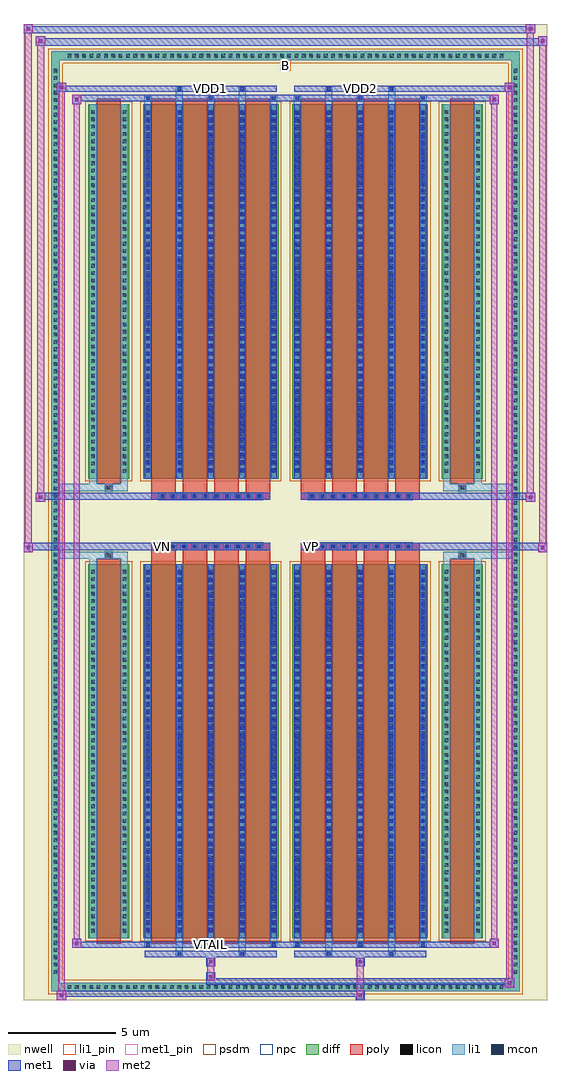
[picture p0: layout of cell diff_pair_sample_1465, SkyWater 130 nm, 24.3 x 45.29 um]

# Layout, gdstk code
import gdstk
lib = gdstk.Library(unit=1e-6, precision=5e-09)
def R(c, l, rs):  # rectangles x0, y0, x1, y1
    for r in rs: c.add(gdstk.rectangle(r[:2], r[2:], *l))
def A(c, l, x, y, w, h, nx, ny, dx, dy):  # array of equal rectangles
    R(c, l, [(x+i*dx, y+j*dy, x+i*dx+w, y+j*dy+h) for i in range(nx) for j in range(ny)])
def P(c, l, *ps):  # polygons
    for p in ps: c.add(gdstk.Polygon(p, *l))
nwell = (64, 20)
diff = (65, 20)
poly = (66, 20)
licon = (66, 44)
li1_pin = (67, 16)
li1 = (67, 20)
mcon = (67, 44)
met1_pin = (68, 16)
met1 = (68, 20)
via = (68, 44)
met2 = (69, 20)
psdm = (94, 20)
npc = (95, 20)

diff_pair_sample_1465 = lib.new_cell('diff_pair_sample_1465')
R(diff_pair_sample_1465, nwell, [(-12.15,-22.21,12.15,23.08), (-9.47,-20.4,-0.01,-0.8), (0.01,-20.4,9.47,-0.8), (-9.47,0.8,-0.01,20.4), (0.01,0.8,9.47,20.4)])
A(diff_pair_sample_1465, diff, -10.235, -21.81, 0.41, 0.41, 60, 2, 0.34, 43.21)
A(diff_pair_sample_1465, diff, -10.88, -21.115, 0.41, 0.41, 1, 124, 0, 0.34)
A(diff_pair_sample_1465, diff, 10.47, -21.115, 0.41, 0.41, 1, 124, 0, 0.34)
R(diff_pair_sample_1465, diff, [(-10.235,-21.81,10.235,-21.4), (-10.88,-21.115,-10.47,21.115), (10.47,-21.115,10.88,21.115), (-9.16,-19.355,-7.25,-1.985), (-6.61,-19.355,-0.32,-1.985), (0.32,-19.355,6.61,-1.985), (7.25,-19.355,9.16,-1.985), (-9.16,1.985,-7.25,19.355), (-6.61,1.985,-0.32,19.355), (0.32,1.985,6.61,19.355), (7.25,1.985,9.16,19.355), (-10.235,21.4,10.235,21.81)])
P(diff_pair_sample_1465, diff, [(10.88,21.81),(-10.88,21.81),(-10.88,-21.4),(-10.47,-21.4),(-10.47,21.4),(10.47,21.4),(10.47,-21.4),(-10.47,-21.4),(-10.88,-21.4),(-10.88,-21.81),(10.88,-21.81)])
A(diff_pair_sample_1465, poly, -6.22, -19.605, 1.13, 17.87, 4, 2, 1.46, 21.34)
A(diff_pair_sample_1465, poly, 0.71, -19.605, 1.13, 17.87, 4, 2, 1.46, 21.34)
A(diff_pair_sample_1465, poly, -6.22, -1.735, 1.13, 0.405, 4, 2, 1.46, 3.065)
A(diff_pair_sample_1465, poly, 0.71, -1.735, 1.13, 0.405, 4, 2, 1.46, 3.065)
A(diff_pair_sample_1465, poly, -5.88, -1.33, 0.33, 0.33, 10, 2, 0.5, 2.33)
A(diff_pair_sample_1465, poly, 1.05, -1.33, 0.33, 0.33, 10, 2, 0.5, 2.33)
R(diff_pair_sample_1465, poly, [(-8.77,-19.605,-7.64,-1.735), (7.64,-19.605,8.77,-1.735), (-8.37,-1.735,-8.04,-1.405), (-8.37,-1.735,-8.04,-1.405), (8.04,-1.735,8.37,-1.405), (8.04,-1.735,8.37,-1.405), (-6.22,-1.33,-0.71,-1), (0.71,-1.33,6.22,-1), (-6.22,1,-0.71,1.33), (0.71,1,6.22,1.33), (-8.37,1.405,-8.04,1.735), (-8.37,1.405,-8.04,1.735), (8.04,1.405,8.37,1.735), (8.04,1.405,8.37,1.735), (-8.77,1.735,-7.64,19.605), (7.64,1.735,8.77,19.605)])
A(diff_pair_sample_1465, licon, -10.115, -21.69, 0.17, 0.17, 60, 2, 0.34, 43.21)
A(diff_pair_sample_1465, licon, -10.76, -20.995, 0.17, 0.17, 1, 124, 0, 0.34)
A(diff_pair_sample_1465, licon, 10.59, -20.995, 0.17, 0.17, 1, 124, 0, 0.34)
A(diff_pair_sample_1465, licon, -9.02, -19.085, 0.17, 0.17, 1, 50, 0, 0.34)
A(diff_pair_sample_1465, licon, -7.56, -19.085, 0.17, 0.17, 1, 50, 0, 0.34)
A(diff_pair_sample_1465, licon, -6.47, -19.085, 0.17, 0.17, 5, 50, 1.46, 0.34)
A(diff_pair_sample_1465, licon, 0.46, -19.085, 0.17, 0.17, 5, 50, 1.46, 0.34)
A(diff_pair_sample_1465, licon, 7.39, -19.085, 0.17, 0.17, 1, 50, 0, 0.34)
A(diff_pair_sample_1465, licon, 8.85, -19.085, 0.17, 0.17, 1, 50, 0, 0.34)
A(diff_pair_sample_1465, licon, -5.8, -1.25, 0.17, 0.17, 10, 2, 0.5, 2.33)
A(diff_pair_sample_1465, licon, 1.13, -1.25, 0.17, 0.17, 10, 2, 0.5, 2.33)
A(diff_pair_sample_1465, licon, -9.02, 2.255, 0.17, 0.17, 1, 50, 0, 0.34)
A(diff_pair_sample_1465, licon, -7.56, 2.255, 0.17, 0.17, 1, 50, 0, 0.34)
A(diff_pair_sample_1465, licon, -6.47, 2.255, 0.17, 0.17, 5, 50, 1.46, 0.34)
A(diff_pair_sample_1465, licon, 0.46, 2.255, 0.17, 0.17, 5, 50, 1.46, 0.34)
A(diff_pair_sample_1465, licon, 7.39, 2.255, 0.17, 0.17, 1, 50, 0, 0.34)
A(diff_pair_sample_1465, licon, 8.85, 2.255, 0.17, 0.17, 1, 50, 0, 0.34)
R(diff_pair_sample_1465, licon, [(-8.29,-1.655,-8.12,-1.485), (8.12,-1.655,8.29,-1.485), (-8.29,1.485,-8.12,1.655), (8.12,1.485,8.29,1.655)])
R(diff_pair_sample_1465, li1_pin, [(-0.25,20.9,0.25,21.4)])
A(diff_pair_sample_1465, li1, -10.195, -21.77, 0.33, 0.33, 60, 2, 0.34, 43.21)
A(diff_pair_sample_1465, li1, -10.84, -21.075, 0.33, 0.33, 1, 124, 0, 0.34)
A(diff_pair_sample_1465, li1, 10.51, -21.075, 0.33, 0.33, 1, 124, 0, 0.34)
A(diff_pair_sample_1465, li1, -6.55, -19.73, 0.33, 0.375, 3, 2, 2.92, 39.085)
A(diff_pair_sample_1465, li1, -6.47, -19.73, 0.17, 0.17, 3, 2, 2.92, 39.29)
A(diff_pair_sample_1465, li1, 0.38, -19.73, 0.33, 0.375, 3, 2, 2.92, 39.085)
A(diff_pair_sample_1465, li1, 0.46, -19.73, 0.17, 0.17, 3, 2, 2.92, 39.29)
A(diff_pair_sample_1465, li1, -6.55, -19.355, 0.33, 17.37, 5, 2, 1.46, 21.34)
A(diff_pair_sample_1465, li1, 0.38, -19.355, 0.33, 17.37, 5, 2, 1.46, 21.34)
A(diff_pair_sample_1465, li1, -9.1, -19.165, 0.33, 0.33, 1, 50, 0, 0.34)
A(diff_pair_sample_1465, li1, -7.64, -19.165, 0.33, 0.33, 1, 50, 0, 0.34)
A(diff_pair_sample_1465, li1, -6.55, -19.165, 0.33, 0.33, 5, 50, 1.46, 0.34)
A(diff_pair_sample_1465, li1, 0.38, -19.165, 0.33, 0.33, 5, 50, 1.46, 0.34)
A(diff_pair_sample_1465, li1, 7.31, -19.165, 0.33, 0.33, 1, 50, 0, 0.34)
A(diff_pair_sample_1465, li1, 8.77, -19.165, 0.33, 0.33, 1, 50, 0, 0.34)
A(diff_pair_sample_1465, li1, -6.47, -19.035, 0.17, 0.17, 5, 47, 1.46, 0.36)
A(diff_pair_sample_1465, li1, -6.47, -19.035, 0.17, 16.73, 5, 2, 1.46, 21.34)
A(diff_pair_sample_1465, li1, 0.46, -19.035, 0.17, 0.17, 5, 47, 1.46, 0.36)
A(diff_pair_sample_1465, li1, 0.46, -19.035, 0.17, 16.73, 5, 2, 1.46, 21.34)
A(diff_pair_sample_1465, li1, -5.88, -1.33, 0.33, 0.33, 10, 2, 0.5, 2.33)
A(diff_pair_sample_1465, li1, 1.05, -1.33, 0.33, 0.33, 10, 2, 0.5, 2.33)
A(diff_pair_sample_1465, li1, -9.1, 2.175, 0.33, 0.33, 1, 50, 0, 0.34)
A(diff_pair_sample_1465, li1, -7.64, 2.175, 0.33, 0.33, 1, 50, 0, 0.34)
A(diff_pair_sample_1465, li1, -6.55, 2.175, 0.33, 0.33, 5, 50, 1.46, 0.34)
A(diff_pair_sample_1465, li1, 0.38, 2.175, 0.33, 0.33, 5, 50, 1.46, 0.34)
A(diff_pair_sample_1465, li1, 7.31, 2.175, 0.33, 0.33, 1, 50, 0, 0.34)
A(diff_pair_sample_1465, li1, 8.77, 2.175, 0.33, 0.33, 1, 50, 0, 0.34)
A(diff_pair_sample_1465, li1, -6.47, 2.305, 0.17, 0.17, 5, 47, 1.46, 0.36)
A(diff_pair_sample_1465, li1, 0.46, 2.305, 0.17, 0.17, 5, 47, 1.46, 0.36)
R(diff_pair_sample_1465, li1, [(-10.88,-21.81,-10.47,-21.4), (-10.88,-21.81,-10.47,-21.4), (-10.47,-21.81,10.47,-21.4), (10.47,-21.81,10.88,-21.4), (10.47,-21.81,10.88,-21.4), (-10.88,-21.4,-10.47,21.4), (10.47,-21.4,10.88,21.4), (-5.09,-20.16,-4.76,-19.355), (-5.01,-20.16,-4.84,-19.99), (-2.17,-20.16,-1.84,-19.355), (-2.09,-20.16,-1.92,-19.99), (1.84,-20.16,2.17,-19.355), (1.92,-20.16,2.09,-19.99), (4.76,-20.16,5.09,-19.355), (4.84,-20.16,5.01,-19.99), (-9.1,-19.355,-8.77,-1.985), (-7.64,-19.355,-7.31,-1.985), (7.31,-19.355,7.64,-1.985), (8.77,-19.355,9.1,-1.985), (-9.1,-1.985,-8.77,-1.405), (-7.64,-1.985,-7.31,-1.405), (7.31,-1.985,7.64,-1.405), (8.77,-1.985,9.1,-1.405), (-10.88,-1.735,-8.37,-1.405), (-9.1,-1.735,-8.37,-1.405), (-8.37,-1.735,-8.04,-1.405), (-8.04,-1.735,-7.31,-1.405), (7.31,-1.735,8.04,-1.405), (8.04,-1.735,8.37,-1.405), (8.04,-1.735,10.88,-1.405), (8.37,-1.735,9.1,-1.405), (-10.88,1.405,-8.37,1.735), (-9.1,1.405,-8.37,1.735), (-9.1,1.405,-8.77,1.985), (-8.37,1.405,-8.04,1.735), (-8.04,1.405,-7.31,1.735), (-7.64,1.405,-7.31,1.985), (7.31,1.405,8.04,1.735), (7.31,1.405,7.64,1.985), (8.04,1.405,8.37,1.735), (8.04,1.405,10.88,1.735), (8.37,1.405,9.1,1.735), (8.77,1.405,9.1,1.985), (-9.1,1.985,-8.77,19.355), (-7.64,1.985,-7.31,19.355), (7.31,1.985,7.64,19.355), (8.77,1.985,9.1,19.355), (-5.09,19.355,-4.76,20.16), (-2.17,19.355,-1.84,20.16), (1.84,19.355,2.17,20.16), (4.76,19.355,5.09,20.16), (-5.01,19.99,-4.84,20.16), (-2.09,19.99,-1.92,20.16), (1.92,19.99,2.09,20.16), (4.84,19.99,5.01,20.16), (-10.88,21.4,-10.47,21.81), (-10.88,21.4,-10.47,21.81), (-10.47,21.4,10.47,21.81), (10.47,21.4,10.88,21.81), (10.47,21.4,10.88,21.81)])
A(diff_pair_sample_1465, mcon, -6.47, -19.73, 0.17, 0.17, 3, 2, 2.92, 39.29)
A(diff_pair_sample_1465, mcon, 0.46, -19.73, 0.17, 0.17, 3, 2, 2.92, 39.29)
A(diff_pair_sample_1465, mcon, -6.47, -19.035, 0.17, 0.17, 5, 47, 1.46, 0.36)
A(diff_pair_sample_1465, mcon, 0.46, -19.035, 0.17, 0.17, 5, 47, 1.46, 0.36)
A(diff_pair_sample_1465, mcon, -5.8, -1.25, 0.17, 0.17, 10, 2, 0.5, 2.33)
A(diff_pair_sample_1465, mcon, 1.13, -1.25, 0.17, 0.17, 10, 2, 0.5, 2.33)
A(diff_pair_sample_1465, mcon, -6.47, 2.305, 0.17, 0.17, 5, 47, 1.46, 0.36)
A(diff_pair_sample_1465, mcon, 0.46, 2.305, 0.17, 0.17, 5, 47, 1.46, 0.36)
R(diff_pair_sample_1465, mcon, [(-5.01,-20.16,-4.84,-19.99), (-2.09,-20.16,-1.92,-19.99), (1.92,-20.16,2.09,-19.99), (4.84,-20.16,5.01,-19.99), (-5.01,19.99,-4.84,20.16), (-2.09,19.99,-1.92,20.16), (1.92,19.99,2.09,20.16), (4.84,19.99,5.01,20.16)])
R(diff_pair_sample_1465, met1_pin, [(-3.6,-19.77,-3.33,-19.5), (-5.85,-1.29,-5.58,-1.02), (1.08,-1.29,1.35,-1.02), (-3.6,19.95,-3.33,20.22), (3.33,19.95,3.6,20.22)])
A(diff_pair_sample_1465, met1, -6.53, -19.79, 0.29, 0.29, 3, 2, 2.92, 39.29)
A(diff_pair_sample_1465, met1, 0.4, -19.79, 0.29, 0.29, 3, 2, 2.92, 39.29)
A(diff_pair_sample_1465, met1, -6.53, -19.355, 0.29, 17.37, 5, 2, 1.46, 21.34)
A(diff_pair_sample_1465, met1, 0.4, -19.355, 0.29, 17.37, 5, 2, 1.46, 21.34)
A(diff_pair_sample_1465, met1, -6.53, -19.095, 0.29, 0.29, 5, 47, 1.46, 0.36)
A(diff_pair_sample_1465, met1, 0.4, -19.095, 0.29, 0.29, 5, 47, 1.46, 0.36)
A(diff_pair_sample_1465, met1, -5.86, -1.31, 0.29, 0.29, 10, 2, 0.5, 2.33)
A(diff_pair_sample_1465, met1, 1.07, -1.31, 0.29, 0.29, 10, 2, 0.5, 2.33)
A(diff_pair_sample_1465, met1, -6.53, 2.245, 0.29, 0.29, 5, 47, 1.46, 0.36)
A(diff_pair_sample_1465, met1, 0.4, 2.245, 0.29, 0.29, 5, 47, 1.46, 0.36)
R(diff_pair_sample_1465, met1, [(-10.61,-22.21,-10.18,-21.78), (3.25,-22.21,3.68,-21.78), (-10.61,-22.07,3.68,-21.78), (10.18,-21.64,10.61,-21.21), (-3.68,-21.5,10.61,-21.21), (-3.68,-21.36,-3.25,-20.93), (-3.68,-20.65,-3.25,-20.22), (3.25,-20.65,3.68,-20.22), (-6.53,-20.22,-0.4,-19.93), (-5.07,-20.22,-4.78,-19.93), (-2.15,-20.22,-1.86,-19.93), (0.4,-20.22,6.53,-19.93), (1.86,-20.22,2.15,-19.93), (4.78,-20.22,5.07,-19.93), (-9.9,-19.79,-9.47,-19.36), (-9.9,-19.79,-6.53,-19.5), (-6.53,-19.79,-0.4,-19.5), (-0.4,-19.79,0.4,-19.5), (0.4,-19.79,6.53,-19.5), (6.53,-19.79,9.9,-19.5), (9.47,-19.79,9.9,-19.36), (-12.15,-1.43,-11.72,-1), (11.72,-1.43,12.15,-1), (-12.15,-1.33,-0.71,-1), (-6.22,-1.33,-0.71,-1), (0.71,-1.33,6.22,-1), (0.71,-1.33,12.15,-1), (-11.58,0.9,-11.15,1.33), (11.15,0.9,11.58,1.33), (-11.58,1,-6.22,1.33), (-6.22,1,-0.71,1.33), (0.71,1,6.22,1.33), (6.22,1,11.58,1.33), (-9.9,19.36,-9.47,19.79), (9.47,19.36,9.9,19.79), (-9.9,19.5,-6.53,19.79), (-6.53,19.5,-0.4,19.79), (-0.4,19.5,0.4,19.79), (0.4,19.5,6.53,19.79), (6.53,19.5,9.9,19.79), (-10.61,19.93,-10.18,20.36), (-10.61,19.93,-6.53,20.22), (-6.53,19.93,-0.4,20.22), (-5.07,19.93,-4.78,20.22), (-2.15,19.93,-1.86,20.22), (0.4,19.93,6.53,20.22), (1.86,19.93,2.15,20.22), (4.78,19.93,5.07,20.22), (6.53,19.93,10.61,20.22), (10.18,19.93,10.61,20.36), (-11.58,22.08,-11.15,22.51), (-11.58,22.08,-9.47,22.41), (-9.47,22.08,9.47,22.41), (9.47,22.08,12.15,22.41), (11.72,22.08,12.15,22.51), (-12.15,22.65,-11.72,23.08), (-12.15,22.65,-9.47,22.98), (-9.47,22.65,9.47,22.98), (9.47,22.65,11.58,22.98), (11.15,22.65,11.58,23.08)])
R(diff_pair_sample_1465, via, [(-10.47,-22.07,-10.32,-21.92), (3.39,-22.07,3.54,-21.92), (10.32,-21.5,10.47,-21.35), (-3.54,-21.22,-3.39,-21.07), (-3.54,-20.51,-3.39,-20.36), (3.39,-20.51,3.54,-20.36), (-9.76,-19.65,-9.61,-19.5), (9.61,-19.65,9.76,-19.5), (-12.01,-1.29,-11.86,-1.14), (11.86,-1.29,12.01,-1.14), (-11.44,1.04,-11.29,1.19), (11.29,1.04,11.44,1.19), (-9.76,19.5,-9.61,19.65), (9.61,19.5,9.76,19.65), (-10.47,20.07,-10.32,20.22), (10.32,20.07,10.47,20.22), (-11.44,22.22,-11.29,22.37), (11.86,22.22,12.01,22.37), (-12.01,22.79,-11.86,22.94), (11.29,22.79,11.44,22.94)])
R(diff_pair_sample_1465, met2, [(-10.61,-22.21,-10.18,-21.78), (-10.54,-22.21,-10.25,20.36), (-10.25,-22.21,-10.18,-21.78), (-10.56,-22.16,-10.23,-21.83), (3.3,-22.16,3.63,-21.83), (3.3,-21.83,3.63,-20.6), (10.18,-21.64,10.61,-21.21), (10.25,-21.64,10.54,20.36), (10.54,-21.64,10.61,-21.21), (10.23,-21.59,10.56,-21.26), (-3.63,-21.31,-3.3,-20.98), (-3.63,-20.98,-3.3,-20.6), (-3.63,-20.6,-3.3,-20.27), (3.3,-20.6,3.63,-20.27), (-9.9,-19.79,-9.47,-19.36), (-9.83,-19.79,-9.54,19.79), (-9.54,-19.79,-9.47,-19.36), (9.47,-19.79,9.9,-19.36), (9.54,-19.79,9.83,19.79), (9.83,-19.79,9.9,-19.36), (-9.85,-19.74,-9.52,-19.41), (9.52,-19.74,9.85,-19.41), (-12.15,-1.43,-11.72,-1), (-12.1,-1.43,-11.77,23.08), (-11.77,-1.43,-11.72,-1), (11.72,-1.43,12.15,-1), (11.77,-1.43,12.1,22.51), (12.1,-1.43,12.15,-1), (-12.1,-1.38,-11.77,-1.05), (11.77,-1.38,12.1,-1.05), (-11.58,0.9,-11.15,1.33), (-11.53,0.9,-11.2,22.51), (-11.2,0.9,-11.15,1.33), (11.15,0.9,11.58,1.33), (11.2,0.9,11.53,23.08), (11.53,0.9,11.58,1.33), (-11.53,0.95,-11.2,1.28), (11.2,0.95,11.53,1.28), (-9.9,19.36,-9.47,19.79), (-9.54,19.36,-9.47,19.79), (9.47,19.36,9.9,19.79), (9.83,19.36,9.9,19.79), (-9.85,19.41,-9.52,19.74), (9.52,19.41,9.85,19.74), (-10.61,19.93,-10.18,20.36), (-10.25,19.93,-10.18,20.36), (10.18,19.93,10.61,20.36), (10.54,19.93,10.61,20.36), (-10.56,19.98,-10.23,20.31), (10.23,19.98,10.56,20.31), (-11.58,22.08,-11.15,22.51), (-11.2,22.08,-11.15,22.51), (11.72,22.08,12.15,22.51), (12.1,22.08,12.15,22.51), (-11.53,22.13,-11.2,22.46), (11.77,22.13,12.1,22.46), (-12.15,22.65,-11.72,23.08), (-11.77,22.65,-11.72,23.08), (11.15,22.65,11.58,23.08), (11.53,22.65,11.58,23.08), (-12.1,22.7,-11.77,23.03), (11.2,22.7,11.53,23.03)])
R(diff_pair_sample_1465, psdm, [(-9.29,-19.485,-7.12,-1.855), (-6.74,-19.485,-0.19,-1.855), (0.19,-19.485,6.74,-1.855), (7.12,-19.485,9.29,-1.855), (-9.29,1.855,-7.12,19.485), (-6.74,1.855,-0.19,19.485), (0.19,1.855,6.74,19.485), (7.12,1.855,9.29,19.485)])
P(diff_pair_sample_1465, psdm, [(11.01,21.94),(-11.01,21.94),(-11.01,-21.27),(-10.34,-21.27),(-10.34,21.27),(10.34,21.27),(10.34,-21.27),(-10.34,-21.27),(-11.01,-21.27),(-11.01,-21.94),(11.01,-21.94)])
A(diff_pair_sample_1465, npc, -5.9, -1.35, 0.37, 0.37, 10, 2, 0.5, 2.33)
A(diff_pair_sample_1465, npc, 1.03, -1.35, 0.37, 0.37, 10, 2, 0.5, 2.33)
R(diff_pair_sample_1465, npc, [(-8.39,-1.755,-8.02,-1.385), (8.02,-1.755,8.39,-1.385), (-5.9,-1.35,-5.03,-0.98), (-5.9,-1.35,-5.03,-0.98), (-5.4,-1.35,-4.53,-0.98), (-5.4,-1.35,-4.53,-0.98), (-4.9,-1.35,-4.03,-0.98), (-4.9,-1.35,-4.03,-0.98), (-4.4,-1.35,-3.53,-0.98), (-4.4,-1.35,-3.53,-0.98), (-3.9,-1.35,-3.03,-0.98), (-3.9,-1.35,-3.03,-0.98), (-3.4,-1.35,-2.53,-0.98), (-3.4,-1.35,-2.53,-0.98), (-2.9,-1.35,-2.03,-0.98), (-2.9,-1.35,-2.03,-0.98), (-2.4,-1.35,-1.53,-0.98), (-2.4,-1.35,-1.53,-0.98), (-1.9,-1.35,-1.03,-0.98), (-1.9,-1.35,-1.03,-0.98), (1.03,-1.35,1.9,-0.98), (1.03,-1.35,1.9,-0.98), (1.53,-1.35,2.4,-0.98), (1.53,-1.35,2.4,-0.98), (2.03,-1.35,2.9,-0.98), (2.03,-1.35,2.9,-0.98), (2.53,-1.35,3.4,-0.98), (2.53,-1.35,3.4,-0.98), (3.03,-1.35,3.9,-0.98), (3.03,-1.35,3.9,-0.98), (3.53,-1.35,4.4,-0.98), (3.53,-1.35,4.4,-0.98), (4.03,-1.35,4.9,-0.98), (4.03,-1.35,4.9,-0.98), (4.53,-1.35,5.4,-0.98), (4.53,-1.35,5.4,-0.98), (5.03,-1.35,5.9,-0.98), (5.03,-1.35,5.9,-0.98), (-5.9,0.98,-5.03,1.35), (-5.9,0.98,-5.03,1.35), (-5.4,0.98,-4.53,1.35), (-5.4,0.98,-4.53,1.35), (-4.9,0.98,-4.03,1.35), (-4.9,0.98,-4.03,1.35), (-4.4,0.98,-3.53,1.35), (-4.4,0.98,-3.53,1.35), (-3.9,0.98,-3.03,1.35), (-3.9,0.98,-3.03,1.35), (-3.4,0.98,-2.53,1.35), (-3.4,0.98,-2.53,1.35), (-2.9,0.98,-2.03,1.35), (-2.9,0.98,-2.03,1.35), (-2.4,0.98,-1.53,1.35), (-2.4,0.98,-1.53,1.35), (-1.9,0.98,-1.03,1.35), (-1.9,0.98,-1.03,1.35), (1.03,0.98,1.9,1.35), (1.03,0.98,1.9,1.35), (1.53,0.98,2.4,1.35), (1.53,0.98,2.4,1.35), (2.03,0.98,2.9,1.35), (2.03,0.98,2.9,1.35), (2.53,0.98,3.4,1.35), (2.53,0.98,3.4,1.35), (3.03,0.98,3.9,1.35), (3.03,0.98,3.9,1.35), (3.53,0.98,4.4,1.35), (3.53,0.98,4.4,1.35), (4.03,0.98,4.9,1.35), (4.03,0.98,4.9,1.35), (4.53,0.98,5.4,1.35), (4.53,0.98,5.4,1.35), (5.03,0.98,5.9,1.35), (5.03,0.98,5.9,1.35), (-8.39,1.385,-8.02,1.755), (8.02,1.385,8.39,1.755)])
diff_pair_sample_1465.add(gdstk.Label('VTAIL', (-3.465,-19.635), layer=68, texttype=5))
diff_pair_sample_1465.add(gdstk.Label('VN', (-5.715,-1.155), layer=68, texttype=5))
diff_pair_sample_1465.add(gdstk.Label('VP', (1.215,-1.155), layer=68, texttype=5))
diff_pair_sample_1465.add(gdstk.Label('B', (0,21.15), layer=67, texttype=5))
diff_pair_sample_1465.add(gdstk.Label('VDD2', (3.465,20.085), layer=68, texttype=5))
diff_pair_sample_1465.add(gdstk.Label('VDD1', (-3.465,20.085), layer=68, texttype=5))

lib.write_gds('diff_pair_sample_1465.gds')
